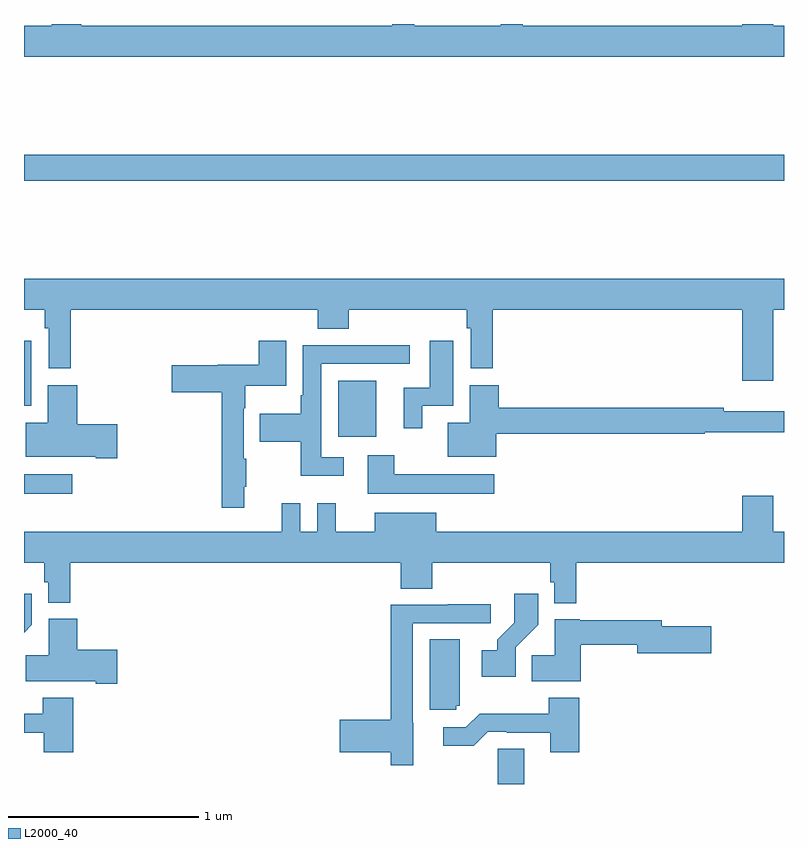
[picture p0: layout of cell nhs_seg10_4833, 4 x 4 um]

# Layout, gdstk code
import gdstk
lib = gdstk.Library(unit=1e-6, precision=1e-09)
def R(c, l, rs):  # rectangles x0, y0, x1, y1
    for r in rs: c.add(gdstk.rectangle(r[:2], r[2:], *l))
def P(c, l, *ps):  # polygons
    for p in ps: c.add(gdstk.Polygon(p, *l))
L2000_40 = (2000, 40)

nhs_seg10_4833 = lib.new_cell('nhs_seg10_4833')
R(nhs_seg10_4833, L2000_40, [(391.494,1284.5,391.633,1284.686), (389,1286.027,389.254,1286.131), (390.653,1286.327,390.853,1286.623), (389,1286.49,389.038,1286.833), (389,1287.676,393,1287.812)])
P(nhs_seg10_4833, L2000_40, [(390.937,1288.5),(390.937,1288.492),(389.3,1288.492),(389.3,1288.5),(389.147,1288.5),(389.147,1288.492),(389,1288.492),(389,1288.328),(393,1288.328),(393,1288.492),(392.944,1288.492),(392.944,1288.5),(392.78,1288.5),(392.78,1288.492),(391.625,1288.492),(391.625,1288.5),(391.508,1288.5),(391.508,1288.492),(391.055,1288.492),(391.055,1288.5)],
  [(389,1286.996),(389.11,1286.996),(389.11,1286.9),(389.13,1286.9),(389.13,1286.688),(389.246,1286.688),(389.246,1286.996),(390.545,1286.996),(390.545,1286.897),(390.71,1286.897),(390.71,1286.996),(391.33,1286.996),(391.33,1286.9),(391.35,1286.9),(391.35,1286.688),(391.466,1286.688),(391.466,1286.996),(392.78,1286.996),(392.78,1286.622),(392.944,1286.622),(392.944,1286.996),(393,1286.996),(393,1287.16),(389,1287.16)],
  [(391.096,1286.49),(391.258,1286.49),(391.258,1286.833),(391.136,1286.833),(391.136,1286.586),(390.998,1286.586),(390.998,1286.373),(391.096,1286.373)],
  [(390.158,1286.065),(390.169,1286.065),(390.169,1286.213),(390.156,1286.213),(390.156,1286.477),(390.165,1286.477),(390.165,1286.597),(390.379,1286.597),(390.379,1286.833),(390.236,1286.833),(390.236,1286.707),(390.021,1286.707),(390.021,1286.703),(389.778,1286.703),(389.778,1286.561),(390.04,1286.561),(390.04,1285.953),(390.158,1285.953)],
  [(390.682,1286.22),(390.564,1286.22),(390.564,1286.712),(391.03,1286.712),(391.03,1286.81),(390.793,1286.81),(390.793,1286.808),(390.468,1286.808),(390.468,1286.545),(390.456,1286.545),(390.456,1286.448),(390.241,1286.448),(390.241,1286.302),(390.456,1286.302),(390.456,1286.123),(390.682,1286.123)],
  [(389.491,1286.393),(389.279,1286.393),(389.279,1286.599),(389.126,1286.599),(389.126,1286.401),(389.009,1286.401),(389.009,1286.222),(389.378,1286.222),(389.378,1286.215),(389.491,1286.215)],
  [(391.486,1286.344),(392.582,1286.344),(392.582,1286.352),(393,1286.352),(393,1286.461),(392.684,1286.461),(392.684,1286.48),(391.499,1286.48),(391.499,1286.599),(391.346,1286.599),(391.346,1286.401),(391.229,1286.401),(391.229,1286.222),(391.486,1286.222)],
  [(391.474,1286.131),(390.949,1286.131),(390.949,1286.23),(390.809,1286.23),(390.809,1286.027),(391.474,1286.027)],
  [(391.907,1285.664),(393,1285.664),(393,1285.828),(392.944,1285.828),(392.944,1286.017),(392.78,1286.017),(392.78,1285.828),(391.171,1285.828),(391.171,1285.927),(390.845,1285.927),(390.845,1285.828),(390.641,1285.828),(390.641,1285.978),(390.543,1285.978),(390.543,1285.828),(390.453,1285.828),(390.453,1285.978),(390.356,1285.978),(390.356,1285.828),(389,1285.828),(389,1285.664),(389.107,1285.664),(389.107,1285.563),(389.127,1285.563),(389.127,1285.454),(389.243,1285.454),(389.243,1285.664),(390.983,1285.664),(390.983,1285.528),(391.148,1285.528),(391.148,1285.664),(391.771,1285.664),(391.771,1285.563),(391.791,1285.563),(391.791,1285.451),(391.907,1285.451)],
  [(391.587,1285.219),(391.706,1285.338),(391.706,1285.501),(391.581,1285.501),(391.581,1285.349),(391.49,1285.259),(391.49,1285.204),(391.41,1285.204),(391.41,1285.064),(391.587,1285.064)],
  [(389.042,1285.338),(389.042,1285.501),(389,1285.501),(389,1285.296)],
  [(391.048,1284.822),(391.047,1284.822),(391.047,1285.347),(391.456,1285.347),(391.456,1285.446),(391.231,1285.446),(391.231,1285.443),(390.931,1285.443),(390.931,1284.839),(390.663,1284.839),(390.663,1284.668),(390.931,1284.668),(390.931,1284.6),(391.048,1284.6)],
  [(389.491,1285.206),(389.279,1285.206),(389.279,1285.369),(389.129,1285.369),(389.129,1285.178),(389.008,1285.178),(389.008,1285.04),(389.378,1285.04),(389.378,1285.028),(389.491,1285.028)],
  [(391.93,1285.234),(392.228,1285.234),(392.228,1285.187),(392.617,1285.187),(392.617,1285.329),(392.356,1285.329),(392.356,1285.363),(391.926,1285.363),(391.926,1285.366),(391.793,1285.366),(391.793,1285.178),(391.672,1285.178),(391.672,1285.04),(391.93,1285.04)],
  [(391.275,1284.912),(391.294,1284.912),(391.294,1285.261),(391.136,1285.261),(391.136,1284.891),(391.275,1284.891)],
  [(391.922,1284.955),(391.762,1284.955),(391.762,1284.871),(391.399,1284.871),(391.326,1284.798),(391.206,1284.798),(391.206,1284.701),(391.367,1284.701),(391.44,1284.774),(391.54,1284.774),(391.54,1284.771),(391.769,1284.771),(391.769,1284.666),(391.922,1284.666)],
  [(389.258,1284.955),(389.098,1284.955),(389.098,1284.871),(389,1284.871),(389,1284.771),(389.105,1284.771),(389.105,1284.666),(389.258,1284.666)])

lib.write_gds('nhs_seg10_4833.gds')
